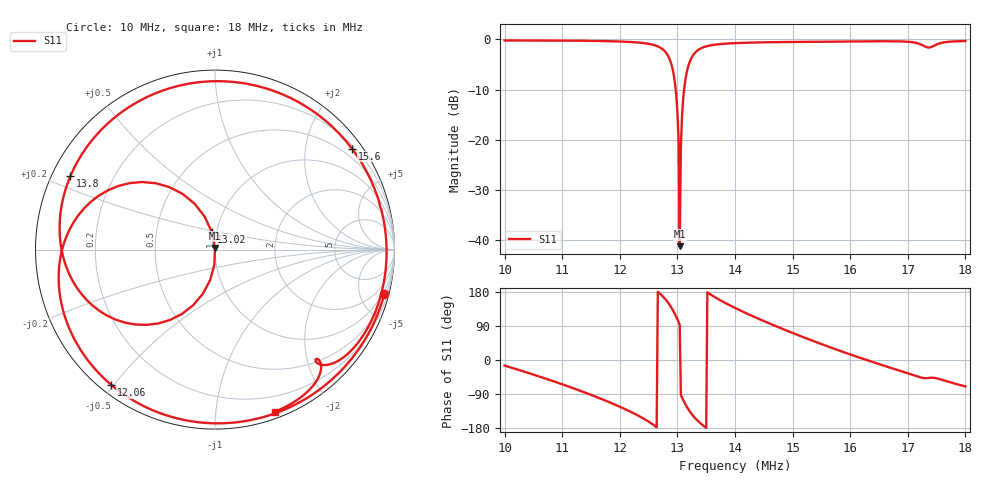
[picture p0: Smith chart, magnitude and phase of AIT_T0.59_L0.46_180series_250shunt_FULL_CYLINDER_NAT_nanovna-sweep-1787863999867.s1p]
! NanoVNA Web complex sweep
! Processing: original sample grid, no browser smoothing
# Hz S RI R 50
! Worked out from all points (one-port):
!   401 points, 10 MHz to 18 MHz, reference 50 ohm
!   lowest |S11| = -41.2 dB at 13.04 MHz (marker M1), VSWR 1.02, Z = 50 + j0.872 ohm
!   |S11| at or under -10 dB: 12.97 MHz to 13.12 MHz (146.5 kHz wide, 1.12 % of centre)
!   S11 on the Smith chart (normalised r, x): 10 MHz: 0.74, -7.64; 12.06 MHz: 0.03, -0.49; 13.02 MHz: 0.94, +0.19; 13.8 MHz: 0.05, +0.24; 15.6 MHz: 0.27, +3.02; 18 MHz: 0.06, -1.43
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1e7  0.9433 -0.249
1.05e7  0.763 -0.6055
1.1e7  0.4253 -0.8743
1.152e7  -0.0536 -0.9655
1.2e7  -0.5235 -0.796
1.206e7  -0.5775 -0.7539
1.254e7  -0.869 -0.2089
1.27e7  -0.8264 0.0762
1.282e7  -0.6476 0.3004
1.294e7  -0.2544 0.3483
1.298e7  -0.1125 0.2543
1.3e7  -0.0571 0.183
1.302e7  -0.0186 0.0995
1.304e7  -0.00033 0.00873
1.308e7  -0.0268 -0.1693
1.31e7  -0.0673 -0.2458
1.312e7  -0.1209 -0.3091
1.322e7  -0.4449 -0.4173
1.346e7  -0.8341 -0.0806
1.38e7  -0.8053 0.4104
1.4e7  -0.6758 0.6209
1.448e7  -0.2272 0.9061
1.5e7  0.3015 0.8927
1.56e7  0.7632 0.5627
1.6e7  0.919 0.2398
1.65e7  0.9412 -0.1794
1.7e7  0.7738 -0.5465
1.8e7  0.3328 -0.9039
